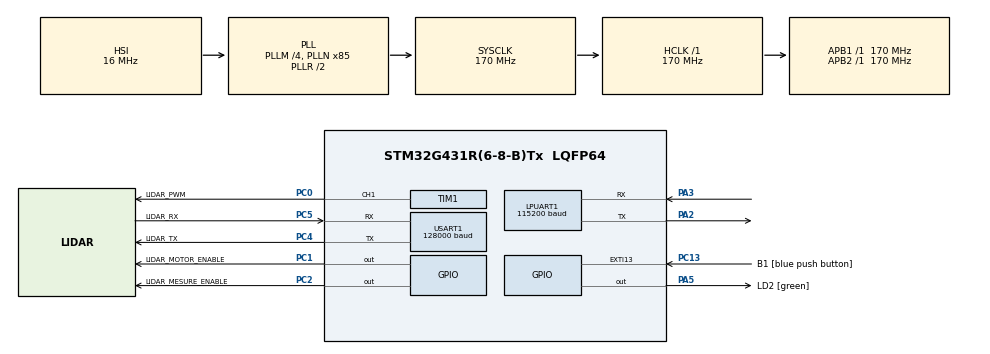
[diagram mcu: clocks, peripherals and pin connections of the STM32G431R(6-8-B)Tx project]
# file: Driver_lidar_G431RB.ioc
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Dma.Request0=USART1_RX
Dma.USART1_RX.0.Direction=DMA_PERIPH_TO_MEMORY
Dma.USART1_RX.0.EventEnable=DISABLE
Dma.USART1_RX.0.Instance=DMA1_Channel1
Dma.USART1_RX.0.MemDataAlignment=DMA_MDATAALIGN_BYTE
Dma.USART1_RX.0.MemInc=DMA_MINC_ENABLE
Dma.USART1_RX.0.Mode=DMA_CIRCULAR
Dma.USART1_RX.0.PeriphDataAlignment=DMA_PDATAALIGN_BYTE
Dma.USART1_RX.0.PeriphInc=DMA_PINC_DISABLE
Dma.USART1_RX.0.Polarity=HAL_DMAMUX_REQ_GEN_RISING
Dma.USART1_RX.0.Priority=DMA_PRIORITY_HIGH
Dma.USART1_RX.0.RequestNumber=1
Dma.USART1_RX.0.SignalID=NONE
Dma.USART1_RX.0.SyncEnable=DISABLE
Dma.USART1_RX.0.SyncPolarity=HAL_DMAMUX_SYNC_NO_EVENT
Dma.USART1_RX.0.SyncRequestNumber=1
Dma.USART1_RX.0.SyncSignalID=NONE
LPUART1.BaudRate=115200
Mcu.Family=STM32G4
Mcu.Name=STM32G431R(6-8-B)Tx
Mcu.Package=LQFP64
NVIC.DMA1_Channel1_IRQn=true\:0\:0\:false\:false\:true\:false\:true\:true
NVIC.EXTI15_10_IRQn=true\:0\:0\:false\:false\:true\:true\:true\:true
NVIC.PriorityGroup=NVIC_PRIORITYGROUP_4
NVIC.USART1_IRQn=true\:0\:0\:false\:false\:true\:true\:true\:true
PA13.GPIO_Label=T_SWDIO
PA13.Mode=Serial_Wire
PA13.Signal=SYS_JTMS-SWDIO
PA14.GPIO_Label=T_SWCLK
PA14.Mode=Serial_Wire
PA14.Signal=SYS_JTCK-SWCLK
PA2.Mode=Asynchronous
PA2.Signal=LPUART1_TX
PA3.Mode=Asynchronous
PA3.Signal=LPUART1_RX
PA5.GPIO_Label=LD2 [green]
PA5.Signal=GPIO_Output
PB3.GPIO_Label=T_SWO
PB3.Signal=SYS_JTDO-SWO
PC0.GPIO_Label=LIDAR_PWM
PC0.Signal=S_TIM1_CH1
PC1.GPIO_Label=LIDAR_MOTOR_ENABLE
PC1.Signal=GPIO_Output
PC13.GPIO_Label=B1 [blue push button]
PC13.Signal=GPXTI13
PC14-OSC32_IN.Mode=LSE-External-Oscillator
PC14-OSC32_IN.Signal=RCC_OSC32_IN
PC15-OSC32_OUT.Mode=LSE-External-Oscillator
PC15-OSC32_OUT.Signal=RCC_OSC32_OUT
PC2.GPIO_Label=LIDAR_MESURE_ENABLE
PC2.Signal=GPIO_Output
PC4.GPIO_Label=LIDAR_TX
PC4.Mode=Asynchronous
PC4.Signal=USART1_TX
PC5.GPIO_Label=LIDAR_RX
PC5.Mode=Asynchronous
PC5.Signal=USART1_RX
PF0-OSC_IN.Mode=HSE-External-Oscillator
PF0-OSC_IN.Signal=RCC_OSC_IN
PF1-OSC_OUT.Mode=HSE-External-Oscillator
PF1-OSC_OUT.Signal=RCC_OSC_OUT
ProjectManager.HeapSize=0x200
ProjectManager.StackSize=0x400
ProjectManager.TargetToolchain=STM32CubeIDE
RCC.ADC12Freq_Value=170000000
RCC.AHBFreq_Value=170000000
RCC.APB1Freq_Value=170000000
RCC.APB1TimFreq_Value=170000000
RCC.APB2Freq_Value=170000000
RCC.APB2TimFreq_Value=170000000
RCC.CortexFreq_Value=170000000
RCC.EXTERNAL_CLOCK_VALUE=12288000
RCC.HCLKFreq_Value=170000000
RCC.HSE_VALUE=24000000
RCC.HSI48_VALUE=48000000
RCC.HSI_VALUE=16000000
RCC.PLLM=RCC_PLLM_DIV4
RCC.PLLN=85
RCC.RTCClockSelection=RCC_RTCCLKSOURCE_LSE
RCC.SYSCLKFreq_VALUE=170000000
RCC.SYSCLKSource=RCC_SYSCLKSOURCE_PLLCLK
RCC.USBFreq_Value=170000000
RCC.VCOOutputFreq_Value=340000000
SH.S_TIM1_CH1.0=TIM1_CH1,PWM Generation1 CH1
TIM1.Channel-PWM\ Generation1\ CH1=TIM_CHANNEL_1
USART1.BaudRate=128000
USART1.VirtualMode-Asynchronous=VM_ASYNC
VP_SYS_VS_DBSignals.Mode=DisableDeadBatterySignals
board=NUCLEO-G431RB

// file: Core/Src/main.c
/* USER CODE BEGIN Header */
/**
  ******************************************************************************
  * @file           : main.c
  * @brief          : Main program body
  ******************************************************************************
  * @attention
  *
  * Copyright (c) 2023 STMicroelectronics.
  * All rights reserved.
  *
  * This software is licensed under terms that can be found in the LICENSE file
  * in the root directory of this software component.
  * If no LICENSE file comes with this software, it is provided AS-IS.
  *
  ******************************************************************************
  */
/* USER CODE END Header */
#include "main.h"
#include "dma.h"
#include "usart.h"
#include "tim.h"
#include "gpio.h"

/* USER CODE BEGIN Includes */
#include "lidar_driver.h"
#include "transmit.h"

/* USER CODE END Includes */

/* USER CODE BEGIN PD */

#define RX_BUFFER_SIZE   100

/* USER CODE END PD */

/* USER CODE BEGIN PV */
h_lidar_t lidar;

uint8_t aTextInfoStart[] = "\r\nUSART Example : Enter characters to fill reception buffers.\r\n";

uint8_t RX_data[RX_BUFFER_SIZE];

/**
  * @brief Data buffers used to manage received data in interrupt routine
  */
uint8_t aRXBufferA[RX_BUFFER_SIZE];
uint8_t aRXBufferB[RX_BUFFER_SIZE];
uint8_t aRXBufferUser[RX_BUFFER_SIZE];

int flag = 0;

__IO uint32_t     uwNbReceivedChars;
uint8_t *pBufferReadyForUser;
uint8_t *pBufferReadyForReception;
/* USER CODE END PV */

void SystemClock_Config(void);
/* USER CODE BEGIN PFP */
void StartReception(void);
void UserDataTreatment(UART_HandleTypeDef *huart, uint8_t* pData, uint16_t Size);

/* USER CODE END PFP */

int main(void)
{

  /* MCU Configuration--------------------------------------------------------*/

  /* Reset of all peripherals, Initializes the Flash interface and the Systick. */
  HAL_Init();

  /* Configure the system clock */
  SystemClock_Config();

  /* Initialize all configured peripherals */
  MX_GPIO_Init();
  MX_DMA_Init();
  MX_USART1_UART_Init();
  MX_TIM1_Init();
  MX_LPUART1_UART_Init();

  /* Infinite loop */
  /* USER CODE BEGIN WHILE */

  printf("Starting initialization\r\n");

  HAL_Delay(1000);
  //StartReception();
  if(lidar_init(&lidar,&huart1) != SUCCESS)
  {
	  printf("Could not init lidar, aborting start");
	  Error_Handler();
  }else{
	  printf("Lidar initialized\r\n");
  }

  printf("Initialization succeeded\r\n");

  //stop_motor();

  HAL_Delay(1000);

  //HAL_GPIO_WritePin(GPIOA, GPIO_PIN_5, 1);
  while (1)
  {
	  //HAL_Delay(4000);

    /* USER CODE END WHILE */

  }
}

void SystemClock_Config(void)
{
  RCC_OscInitTypeDef RCC_OscInitStruct = {0};
  RCC_ClkInitTypeDef RCC_ClkInitStruct = {0};

  /** Configure the main internal regulator output voltage
  */
  HAL_PWREx_ControlVoltageScaling(PWR_REGULATOR_VOLTAGE_SCALE1_BOOST);

  /** Initializes the RCC Oscillators according to the specified parameters
  * in the RCC_OscInitTypeDef structure.
  */
  RCC_OscInitStruct.OscillatorType = RCC_OSCILLATORTYPE_HSI;
  RCC_OscInitStruct.HSIState = RCC_HSI_ON;
  RCC_OscInitStruct.HSICalibrationValue = RCC_HSICALIBRATION_DEFAULT;
  RCC_OscInitStruct.PLL.PLLState = RCC_PLL_ON;
  RCC_OscInitStruct.PLL.PLLSource = RCC_PLLSOURCE_HSI;
  RCC_OscInitStruct.PLL.PLLM = RCC_PLLM_DIV4;
  RCC_OscInitStruct.PLL.PLLN = 85;
  RCC_OscInitStruct.PLL.PLLP = RCC_PLLP_DIV2;
  RCC_OscInitStruct.PLL.PLLQ = RCC_PLLQ_DIV2;
  RCC_OscInitStruct.PLL.PLLR = RCC_PLLR_DIV2;
  if (HAL_RCC_OscConfig(&RCC_OscInitStruct) != HAL_OK)
  {
    Error_Handler();
  }

  /** Initializes the CPU, AHB and APB buses clocks
  */
  RCC_ClkInitStruct.ClockType = RCC_CLOCKTYPE_HCLK|RCC_CLOCKTYPE_SYSCLK
                              |RCC_CLOCKTYPE_PCLK1|RCC_CLOCKTYPE_PCLK2;
  RCC_ClkInitStruct.SYSCLKSource = RCC_SYSCLKSOURCE_PLLCLK;
  RCC_ClkInitStruct.AHBCLKDivider = RCC_SYSCLK_DIV1;
  RCC_ClkInitStruct.APB1CLKDivider = RCC_HCLK_DIV1;
  RCC_ClkInitStruct.APB2CLKDivider = RCC_HCLK_DIV1;

  if (HAL_RCC_ClockConfig(&RCC_ClkInitStruct, FLASH_LATENCY_4) != HAL_OK)
  {
    Error_Handler();
  }
}

/* USER CODE BEGIN 4 */

//https://community.st.com/t5/stm32-mcus/faq-stm32-hal-uart-driver-api-and-callbacks/ta-p/49301

void HAL_UART_RxHalfCpltCallback(UART_HandleTypeDef *huart)
{

}
void HAL_UART_RxCpltCallback(UART_HandleTypeDef *huart)
{
    if (huart == lidar.uart)
    {
    	HAL_GPIO_TogglePin (GPIOA, GPIO_PIN_5);  // toggle PA0
    	parse_dma_buffer();
    }

}

/* USER CODE END 4 */

void Error_Handler(void)
{
  /* USER CODE BEGIN Error_Handler_Debug */
  /* User can add his own implementation to report the HAL error return state */
  __disable_irq();
  while (1)
  {
	  HAL_GPIO_WritePin(GPIOA, GPIO_PIN_5, 1);
	  printf("error\n\r");
	  HAL_Delay(2000);
  }
  /* USER CODE END Error_Handler_Debug */
}
